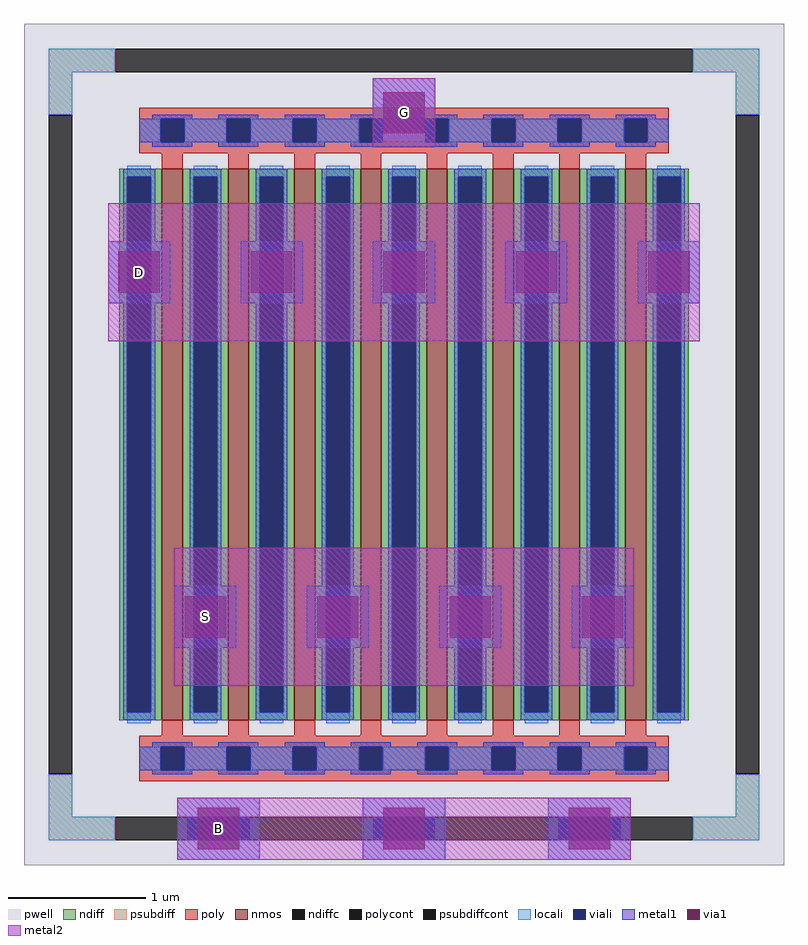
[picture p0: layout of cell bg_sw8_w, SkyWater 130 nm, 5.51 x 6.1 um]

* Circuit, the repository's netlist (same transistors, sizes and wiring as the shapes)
* NGSPICE file created from bg_sw8_w.ext - technology: sky130A

.subckt bg_sw8 B D0 G S1 D2 S3 D4 S5 D6 S7 a_351_n400#
X0 D2 G S1 B sky130_fd_pr__nfet_01v8 ad=0.66 pd=4.33 as=0.66 ps=4.33 w=4 l=0.15
X1 S5 G D4 B sky130_fd_pr__nfet_01v8 ad=0.66 pd=4.33 as=0.66 ps=4.33 w=4 l=0.15
X2 S3 G D2 B sky130_fd_pr__nfet_01v8 ad=0.66 pd=4.33 as=0.66 ps=4.33 w=4 l=0.15
X3 D4 G S3 B sky130_fd_pr__nfet_01v8 ad=0.66 pd=4.33 as=0.66 ps=4.33 w=4 l=0.15
X4 a_351_n400# G S7 B sky130_fd_pr__nfet_01v8 ad=1.24 pd=8.62 as=0.66 ps=4.33 w=4 l=0.15
X5 S7 G D6 B sky130_fd_pr__nfet_01v8 ad=0.66 pd=4.33 as=0.66 ps=4.33 w=4 l=0.15
X6 S1 G D0 B sky130_fd_pr__nfet_01v8 ad=0.66 pd=4.33 as=1.24 ps=8.62 w=4 l=0.15
X7 D6 G S5 B sky130_fd_pr__nfet_01v8 ad=0.66 pd=4.33 as=0.66 ps=4.33 w=4 l=0.15
.ends

.subckt bg_sw8_w D S G B
Xu_dev B D G S D S D S D S D bg_sw8
.ends

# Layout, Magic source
magic
tech sky130A
magscale 1 2
use bg_sw8 u_dev
transform 1 0 0 0 1 0
box -551 -610 551 610
<< viali >>
rect -314 -574 -224 -540
rect -45 -574 45 -540
rect 224 -574 314 -540
<< metal1 >>
rect -429 205 -339 295
rect -237 205 -147 295
rect -45 205 45 295
rect 147 205 237 295
rect 339 205 429 295
rect -333 -295 -243 -205
rect -141 -295 -51 -205
rect 51 -295 141 -205
rect 243 -295 333 -205
rect -45 432 45 531
rect -329 -602 -209 -512
rect -60 -602 60 -512
rect 209 -602 329 -512
<< via1 >>
rect -414 220 -354 280
rect -222 220 -162 280
rect -30 220 30 280
rect 162 220 222 280
rect 354 220 414 280
rect -318 -280 -258 -220
rect -126 -280 -66 -220
rect 66 -280 126 -220
rect 258 -280 318 -220
rect -30 451 30 511
rect -299 -587 -239 -527
rect -30 -587 30 -527
rect 239 -587 299 -527
<< metal2 >>
rect -429 150 429 350
rect -333 -350 333 -150
rect -45 431 45 531
rect -329 -602 329 -512
<< labels >>
rlabel metal2 -384 250 -384 250 0 D
port 1 nsew
rlabel metal2 -288 -250 -288 -250 0 S
port 2 nsew
rlabel metal2 0 481 0 481 0 G
port 3 nsew
rlabel metal2 -269 -557 -269 -557 0 B
port 4 nsew
<< end >>

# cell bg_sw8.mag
magic
tech sky130A
magscale 1 2
<< pwell >>
rect -551 -610 551 610
<< nmos >>
rect -351 -400 -321 400
rect -255 -400 -225 400
rect -159 -400 -129 400
rect -63 -400 -33 400
rect 33 -400 63 400
rect 129 -400 159 400
rect 225 -400 255 400
rect 321 -400 351 400
<< ndiff >>
rect -413 388 -351 400
rect -413 -388 -401 388
rect -367 -388 -351 388
rect -413 -400 -351 -388
rect -321 388 -255 400
rect -321 -388 -305 388
rect -271 -388 -255 388
rect -321 -400 -255 -388
rect -225 388 -159 400
rect -225 -388 -209 388
rect -175 -388 -159 388
rect -225 -400 -159 -388
rect -129 388 -63 400
rect -129 -388 -113 388
rect -79 -388 -63 388
rect -129 -400 -63 -388
rect -33 388 33 400
rect -33 -388 -17 388
rect 17 -388 33 388
rect -33 -400 33 -388
rect 63 388 129 400
rect 63 -388 79 388
rect 113 -388 129 388
rect 63 -400 129 -388
rect 159 388 225 400
rect 159 -388 175 388
rect 209 -388 225 388
rect 159 -400 225 -388
rect 255 388 321 400
rect 255 -388 271 388
rect 305 -388 321 388
rect 255 -400 321 -388
rect 351 388 413 400
rect 351 -388 367 388
rect 401 -388 413 388
rect 351 -400 413 -388
<< ndiffc >>
rect -401 -388 -367 388
rect -305 -388 -271 388
rect -209 -388 -175 388
rect -113 -388 -79 388
rect -17 -388 17 388
rect 79 -388 113 388
rect 175 -388 209 388
rect 271 -388 305 388
rect 367 -388 401 388
<< psubdiff >>
rect -515 540 -419 574
rect 419 540 515 574
rect -515 478 -481 540
rect 481 478 515 540
rect -515 -540 -481 -478
rect 481 -540 515 -478
rect -515 -574 -419 -540
rect 419 -574 515 -540
<< psubdiffcont >>
rect -419 540 419 574
rect -515 -478 -481 478
rect 481 -478 515 478
rect -419 -574 419 -540
<< poly >>
rect -384 472 384 488
rect -384 438 -353 472
rect -319 438 -257 472
rect -223 438 -161 472
rect -127 438 -65 472
rect -31 438 31 472
rect 65 438 127 472
rect 161 438 223 472
rect 257 438 319 472
rect 353 438 384 472
rect -384 422 384 438
rect -351 400 -321 422
rect -255 400 -225 422
rect -159 400 -129 422
rect -63 400 -33 422
rect 33 400 63 422
rect 129 400 159 422
rect 225 400 255 422
rect 321 400 351 422
rect -351 -422 -321 -400
rect -255 -422 -225 -400
rect -159 -422 -129 -400
rect -63 -422 -33 -400
rect 33 -422 63 -400
rect 129 -422 159 -400
rect 225 -422 255 -400
rect 321 -422 351 -400
rect -384 -438 384 -422
rect -384 -472 -353 -438
rect -319 -472 -257 -438
rect -223 -472 -161 -438
rect -127 -472 -65 -438
rect -31 -472 31 -438
rect 65 -472 127 -438
rect 161 -472 223 -438
rect 257 -472 319 -438
rect 353 -472 384 -438
rect -384 -488 384 -472
<< polycont >>
rect -353 438 -319 472
rect -257 438 -223 472
rect -161 438 -127 472
rect -65 438 -31 472
rect 31 438 65 472
rect 127 438 161 472
rect 223 438 257 472
rect 319 438 353 472
rect -353 -472 -319 -438
rect -257 -472 -223 -438
rect -161 -472 -127 -438
rect -65 -472 -31 -438
rect 31 -472 65 -438
rect 127 -472 161 -438
rect 223 -472 257 -438
rect 319 -472 353 -438
<< locali >>
rect -515 540 -419 574
rect 419 540 515 574
rect -515 478 -481 540
rect 481 478 515 540
rect -384 438 -353 472
rect -319 438 -257 472
rect -223 438 -161 472
rect -127 438 -65 472
rect -31 438 31 472
rect 65 438 127 472
rect 161 438 223 472
rect 257 438 319 472
rect 353 438 384 472
rect -401 388 -367 404
rect -401 -404 -367 -388
rect -305 388 -271 404
rect -305 -404 -271 -388
rect -209 388 -175 404
rect -209 -404 -175 -388
rect -113 388 -79 404
rect -113 -404 -79 -388
rect -17 388 17 404
rect -17 -404 17 -388
rect 79 388 113 404
rect 79 -404 113 -388
rect 175 388 209 404
rect 175 -404 209 -388
rect 271 388 305 404
rect 271 -404 305 -388
rect 367 388 401 404
rect 367 -404 401 -388
rect -384 -472 -353 -438
rect -319 -472 -257 -438
rect -223 -472 -161 -438
rect -127 -472 -65 -438
rect -31 -472 31 -438
rect 65 -472 127 -438
rect 161 -472 223 -438
rect 257 -472 319 -438
rect 353 -472 384 -438
rect -515 -540 -481 -478
rect 481 -540 515 -478
rect -515 -574 -419 -540
rect 419 -574 515 -540
<< viali >>
rect -353 438 -319 472
rect -257 438 -223 472
rect -161 438 -127 472
rect -65 438 -31 472
rect 31 438 65 472
rect 127 438 161 472
rect 223 438 257 472
rect 319 438 353 472
rect -401 -388 -367 388
rect -305 -388 -271 388
rect -209 -388 -175 388
rect -113 -388 -79 388
rect -17 -388 17 388
rect 79 -388 113 388
rect 175 -388 209 388
rect 271 -388 305 388
rect 367 -388 401 388
rect -353 -472 -319 -438
rect -257 -472 -223 -438
rect -161 -472 -127 -438
rect -65 -472 -31 -438
rect 31 -472 65 -438
rect 127 -472 161 -438
rect 223 -472 257 -438
rect 319 -472 353 -438
<< metal1 >>
rect -365 472 -307 478
rect -269 472 -211 478
rect -173 472 -115 478
rect -77 472 -19 478
rect 19 472 77 478
rect 115 472 173 478
rect 211 472 269 478
rect 307 472 365 478
rect -384 438 -353 472
rect -319 438 -257 472
rect -223 438 -161 472
rect -127 438 -65 472
rect -31 438 31 472
rect 65 438 127 472
rect 161 438 223 472
rect 257 438 319 472
rect 353 438 384 472
rect -365 432 -307 438
rect -269 432 -211 438
rect -173 432 -115 438
rect -77 432 -19 438
rect 19 432 77 438
rect 115 432 173 438
rect 211 432 269 438
rect 307 432 365 438
rect -407 388 -361 400
rect -407 -388 -401 388
rect -367 -388 -361 388
rect -407 -400 -361 -388
rect -311 388 -265 400
rect -311 -388 -305 388
rect -271 -388 -265 388
rect -311 -400 -265 -388
rect -215 388 -169 400
rect -215 -388 -209 388
rect -175 -388 -169 388
rect -215 -400 -169 -388
rect -119 388 -73 400
rect -119 -388 -113 388
rect -79 -388 -73 388
rect -119 -400 -73 -388
rect -23 388 23 400
rect -23 -388 -17 388
rect 17 -388 23 388
rect -23 -400 23 -388
rect 73 388 119 400
rect 73 -388 79 388
rect 113 -388 119 388
rect 73 -400 119 -388
rect 169 388 215 400
rect 169 -388 175 388
rect 209 -388 215 388
rect 169 -400 215 -388
rect 265 388 311 400
rect 265 -388 271 388
rect 305 -388 311 388
rect 265 -400 311 -388
rect 361 388 407 400
rect 361 -388 367 388
rect 401 -388 407 388
rect 361 -400 407 -388
rect -365 -438 -307 -432
rect -269 -438 -211 -432
rect -173 -438 -115 -432
rect -77 -438 -19 -432
rect 19 -438 77 -432
rect 115 -438 173 -432
rect 211 -438 269 -432
rect 307 -438 365 -432
rect -384 -472 -353 -438
rect -319 -472 -257 -438
rect -223 -472 -161 -438
rect -127 -472 -65 -438
rect -31 -472 31 -438
rect 65 -472 127 -438
rect 161 -472 223 -438
rect 257 -472 319 -438
rect 353 -472 384 -438
rect -365 -478 -307 -472
rect -269 -478 -211 -472
rect -173 -478 -115 -472
rect -77 -478 -19 -472
rect 19 -478 77 -472
rect 115 -478 173 -472
rect 211 -478 269 -472
rect 307 -478 365 -472
<< labels >>
rlabel psubdiffcont 0 -557 0 -557 0 B
port 1 nsew
rlabel ndiffc -384 0 -384 0 0 D0
port 2 nsew
rlabel polycont -336 455 -336 455 0 G
port 3 nsew
rlabel ndiffc -288 0 -288 0 0 S1
port 4 nsew
rlabel polycont -240 455 -240 455 0 G
port 3 nsew
rlabel ndiffc -192 0 -192 0 0 D2
port 5 nsew
rlabel polycont -144 455 -144 455 0 G
port 3 nsew
rlabel ndiffc -96 0 -96 0 0 S3
port 6 nsew
rlabel polycont -48 455 -48 455 0 G
port 3 nsew
rlabel ndiffc 0 0 0 0 0 D4
port 7 nsew
rlabel polycont 48 455 48 455 0 G
port 3 nsew
rlabel ndiffc 96 0 96 0 0 S5
port 8 nsew
rlabel polycont 144 455 144 455 0 G
port 3 nsew
rlabel ndiffc 192 0 192 0 0 D6
port 9 nsew
rlabel polycont 240 455 240 455 0 G
port 3 nsew
rlabel ndiffc 288 0 288 0 0 S7
port 10 nsew
rlabel polycont 336 455 336 455 0 G
port 3 nsew
<< properties >>
string FIXED_BBOX -498 -557 498 557
<< end >>
